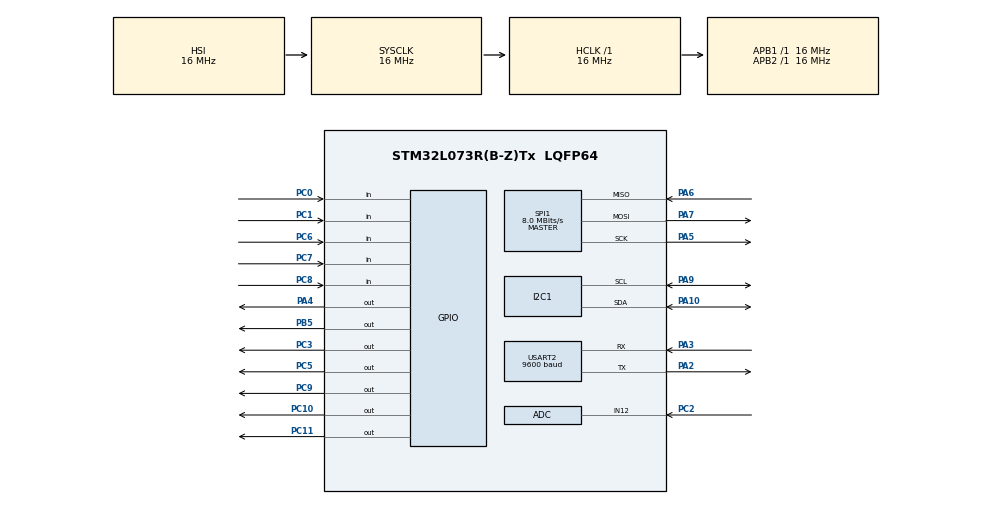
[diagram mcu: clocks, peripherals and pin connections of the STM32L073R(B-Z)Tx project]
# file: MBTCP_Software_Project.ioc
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ADC.ClockPrescaler=ADC_CLOCK_ASYNC_DIV1
I2C1.Timing=0x00303D5B
Mcu.Family=STM32L0
Mcu.Name=STM32L073R(B-Z)Tx
Mcu.Package=LQFP64
PA10.Mode=I2C
PA10.Signal=I2C1_SDA
PA13.Mode=Serial_Wire
PA13.Signal=SYS_SWDIO
PA14.Mode=Serial_Wire
PA14.Signal=SYS_SWCLK
PA2.Mode=Asynchronous
PA2.Signal=USART2_TX
PA3.Mode=Asynchronous
PA3.Signal=USART2_RX
PA4.GPIO_PuPd=GPIO_PULLUP
PA4.PinState=GPIO_PIN_SET
PA4.Signal=GPIO_Output
PA5.Mode=Full_Duplex_Master
PA5.Signal=SPI1_SCK
PA6.Mode=Full_Duplex_Master
PA6.Signal=SPI1_MISO
PA7.Mode=Full_Duplex_Master
PA7.Signal=SPI1_MOSI
PA9.Mode=I2C
PA9.Signal=I2C1_SCL
PB5.Signal=GPIO_Output
PC0.Signal=GPIO_Input
PC1.Signal=GPIO_Input
PC10.GPIO_PuPd=GPIO_PULLUP
PC10.PinState=GPIO_PIN_SET
PC10.Signal=GPIO_Output
PC11.GPIO_PuPd=GPIO_PULLUP
PC11.PinState=GPIO_PIN_SET
PC11.Signal=GPIO_Output
PC2.Mode=IN12
PC2.Signal=ADC_IN12
PC3.Signal=GPIO_Output
PC5.Signal=GPIO_Output
PC6.Signal=GPIO_Input
PC7.Signal=GPIO_Input
PC8.Signal=GPIO_Input
PC9.GPIO_ModeDefaultOutputPP=GPIO_MODE_OUTPUT_PP
PC9.GPIO_PuPd=GPIO_PULLUP
PC9.PinState=GPIO_PIN_SET
PC9.Signal=GPIO_Output
ProjectManager.HeapSize=0x200
ProjectManager.StackSize=0x400
ProjectManager.TargetToolchain=STM32CubeIDE
RCC.AHBFreq_Value=16000000
RCC.APB1Freq_Value=16000000
RCC.APB1TimFreq_Value=16000000
RCC.APB2Freq_Value=16000000
RCC.APB2TimFreq_Value=16000000
RCC.HCLKFreq_Value=16000000
RCC.HSE_VALUE=8000000
RCC.HSI16_VALUE=16000000
RCC.HSI48_VALUE=48000000
RCC.HSI_VALUE=16000000
RCC.LSE_VALUE=32768
RCC.MSI_VALUE=2097000
RCC.SYSCLKFreq_VALUE=16000000
RCC.SYSCLKSource=RCC_SYSCLKSOURCE_HSI
RCC.VCOOutputFreq_Value=48000000
SPI1.CLKPhase=SPI_PHASE_1EDGE
SPI1.CalculateBaudRate=8.0 MBits/s
SPI1.Direction=SPI_DIRECTION_2LINES
SPI1.Mode=SPI_MODE_MASTER
SPI1.VirtualType=VM_MASTER
USART2.BaudRate=9600
USART2.VirtualMode-Asynchronous=VM_ASYNC
board=custom

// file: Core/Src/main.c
/* USER CODE BEGIN Header */
/**
  ******************************************************************************
  * @file           : main.c
  * @brief          : Main program body
  ******************************************************************************
  * @attention
  *
  * <h2><center>&copy; Copyright (c) 2019 STMicroelectronics.
  * All rights reserved.</center></h2>
  *
  * This software component is licensed by ST under BSD 3-Clause license,
  * the "License"; You may not use this file except in compliance with the
  * License. You may obtain a copy of the License at:
  *                        opensource.org/licenses/BSD-3-Clause
  *
  ******************************************************************************
  */
/* USER CODE END Header */

#include "main.h"

/* USER CODE BEGIN Includes */
#include <string.h>
#include <stdio.h>
#include "fram.h"

/* USER CODE END Includes */

ADC_HandleTypeDef hadc;

I2C_HandleTypeDef hi2c1;

SPI_HandleTypeDef hspi1;

UART_HandleTypeDef huart2;

void SystemClock_Config(void);
static void MX_GPIO_Init(void);
static void MX_ADC_Init(void);
static void MX_I2C1_Init(void);
static void MX_SPI1_Init(void);
static void MX_USART2_UART_Init(void);

int main(void)
{

  /* MCU Configuration--------------------------------------------------------*/

  /* Reset of all peripherals, Initializes the Flash interface and the Systick. */
  HAL_Init();

  /* Configure the system clock */
  SystemClock_Config();

  /* Initialize all configured peripherals */
  MX_GPIO_Init();
  MX_ADC_Init();
  MX_I2C1_Init();
  MX_SPI1_Init();
  MX_USART2_UART_Init();
  /* USER CODE BEGIN 2 */

  //**************************************************************************************************************
  // HAL Items
  uint8_t HAL_OK_Buffer[6] = {72, 65, 76, 32, 79, 75};								// Buffer for HAL_OK message
  uint8_t HAL_ERROR_Buffer[9] = {72, 65, 76, 32, 69, 82, 82, 79, 82};				// Buffer for HAL_ERROR message
  uint8_t HAL_BUSY_Buffer[8] = {72, 65, 76, 32, 66, 85, 83, 89};					// Buffer for HAL_BUSY message
  uint8_t HAL_TIMEOUT_Buffer[11] = {72, 65, 76, 32, 84, 73, 77, 69, 79, 85, 84};	// Buffer for HAL_TIMEOUT message
  uint8_t crlfBuffer[2] = {13, 10};													// Buffer for carriage return and line feed characters
  HAL_StatusTypeDef UART2_STATUS;													// UART2 status object
  HAL_StatusTypeDef SPI1_STATUS;													// SPI1 status object
  uint32_t timeout = 10000;															// HAL timeout value
  // End HAL Items
  //*************************************************************************************************************

  //***************************************************************************************************************
  // Begin board bring-up specific items

  uint8_t writeData = 0x47;
  uint8_t readData = 0x42;
  uint16_t address = 0x0000;

  uint8_t writeGoodBuffer[12] = {87, 114, 105, 116, 101, 32, 71, 111, 111, 100, 58, 32};
  uint8_t writeBadBuffer[9] = {87, 114, 105, 116, 101, 32, 66, 97, 100};
  uint8_t readGoodData[11] = {82, 101, 97, 100, 32, 68, 97, 116, 97, 58, 32};
  uint8_t readBadBuffer[9] = {82, 101, 97, 100, 32, 66, 97, 100};

  // End board bring-up specific items
  //***************************************************************************************************************

  /* USER CODE END 2 */

  /* Infinite loop */
  /* USER CODE BEGIN WHILE */
  while (1)
  {
	  // Reset the address and data
	  writeData = 0x47;
	  readData = 0x42;

	  if(address >= 0x1FFF)
	  {
		  address = 0x0001;
	  }
	  else	// increment the address
	  {
		  address = address + 1;
	  }

	  // Write data to address
	  SPI1_STATUS = framWrite(&hspi1, address, writeData);
	  if(SPI1_STATUS == HAL_OK)
	  {
		  // Print write was ok
		  UART2_STATUS = HAL_UART_Transmit(&huart2, writeGoodBuffer, sizeof(writeGoodBuffer), timeout);
		  UART2_STATUS = HAL_UART_Transmit(&huart2, &address, 2, timeout);
		  UART2_STATUS = HAL_UART_Transmit(&huart2, crlfBuffer, sizeof(crlfBuffer), timeout);
	  }
	  else
	  {
		  // Print write failed
		  UART2_STATUS = HAL_UART_Transmit(&huart2, writeBadBuffer, sizeof(writeBadBuffer), timeout);
		  UART2_STATUS = HAL_UART_Transmit(&huart2, crlfBuffer, sizeof(crlfBuffer), timeout);
	  }

	  // Read the data back and print to serial port
	  SPI1_STATUS = framRead(&hspi1, address, &readData);
	  if(SPI1_STATUS == HAL_OK)
	  {
		  // Print read data
		  UART2_STATUS = HAL_UART_Transmit(&huart2, readGoodData, sizeof(readGoodData), timeout);
		  UART2_STATUS = HAL_UART_Transmit(&huart2, &readData, 1, timeout);
		  UART2_STATUS = HAL_UART_Transmit(&huart2, crlfBuffer, sizeof(crlfBuffer), timeout);
	  }
	  else
	  {
		  // Print read failed
		  UART2_STATUS = HAL_UART_Transmit(&huart2, readBadBuffer, sizeof(readBadBuffer), timeout);
		  UART2_STATUS = HAL_UART_Transmit(&huart2, crlfBuffer, sizeof(crlfBuffer), timeout);
	  }

	  if(UART2_STATUS == HAL_OK)
	  {
		  // do nothing, just to avoid a build warning
	  }

	  // Delay a bit before looping
	  HAL_Delay(250);

	  // Toggle the LED
	  HAL_GPIO_TogglePin(GPIOB, GPIO_PIN_5);

    /* USER CODE END WHILE */

  }
}

void SystemClock_Config(void)
{
  RCC_OscInitTypeDef RCC_OscInitStruct = {0};
  RCC_ClkInitTypeDef RCC_ClkInitStruct = {0};
  RCC_PeriphCLKInitTypeDef PeriphClkInit = {0};

  /** Configure the main internal regulator output voltage
  */
  __HAL_PWR_VOLTAGESCALING_CONFIG(PWR_REGULATOR_VOLTAGE_SCALE1);
  /** Initializes the CPU, AHB and APB busses clocks
  */
  RCC_OscInitStruct.OscillatorType = RCC_OSCILLATORTYPE_HSI;
  RCC_OscInitStruct.HSIState = RCC_HSI_ON;
  RCC_OscInitStruct.HSICalibrationValue = RCC_HSICALIBRATION_DEFAULT;
  RCC_OscInitStruct.PLL.PLLState = RCC_PLL_NONE;
  if (HAL_RCC_OscConfig(&RCC_OscInitStruct) != HAL_OK)
  {
    Error_Handler();
  }
  /** Initializes the CPU, AHB and APB busses clocks
  */
  RCC_ClkInitStruct.ClockType = RCC_CLOCKTYPE_HCLK|RCC_CLOCKTYPE_SYSCLK
                              |RCC_CLOCKTYPE_PCLK1|RCC_CLOCKTYPE_PCLK2;
  RCC_ClkInitStruct.SYSCLKSource = RCC_SYSCLKSOURCE_HSI;
  RCC_ClkInitStruct.AHBCLKDivider = RCC_SYSCLK_DIV1;
  RCC_ClkInitStruct.APB1CLKDivider = RCC_HCLK_DIV1;
  RCC_ClkInitStruct.APB2CLKDivider = RCC_HCLK_DIV1;

  if (HAL_RCC_ClockConfig(&RCC_ClkInitStruct, FLASH_LATENCY_0) != HAL_OK)
  {
    Error_Handler();
  }
  PeriphClkInit.PeriphClockSelection = RCC_PERIPHCLK_USART2|RCC_PERIPHCLK_I2C1;
  PeriphClkInit.Usart2ClockSelection = RCC_USART2CLKSOURCE_PCLK1;
  PeriphClkInit.I2c1ClockSelection = RCC_I2C1CLKSOURCE_PCLK1;
  if (HAL_RCCEx_PeriphCLKConfig(&PeriphClkInit) != HAL_OK)
  {
    Error_Handler();
  }
}

static void MX_ADC_Init(void)
{

  ADC_ChannelConfTypeDef sConfig = {0};

  /** Configure the global features of the ADC (Clock, Resolution, Data Alignment and number of conversion)
  */
  hadc.Instance = ADC1;
  hadc.Init.OversamplingMode = DISABLE;
  hadc.Init.ClockPrescaler = ADC_CLOCK_ASYNC_DIV1;
  hadc.Init.Resolution = ADC_RESOLUTION_12B;
  hadc.Init.SamplingTime = ADC_SAMPLETIME_1CYCLE_5;
  hadc.Init.ScanConvMode = ADC_SCAN_DIRECTION_FORWARD;
  hadc.Init.DataAlign = ADC_DATAALIGN_RIGHT;
  hadc.Init.ContinuousConvMode = DISABLE;
  hadc.Init.DiscontinuousConvMode = DISABLE;
  hadc.Init.ExternalTrigConvEdge = ADC_EXTERNALTRIGCONVEDGE_NONE;
  hadc.Init.ExternalTrigConv = ADC_SOFTWARE_START;
  hadc.Init.DMAContinuousRequests = DISABLE;
  hadc.Init.EOCSelection = ADC_EOC_SINGLE_CONV;
  hadc.Init.Overrun = ADC_OVR_DATA_PRESERVED;
  hadc.Init.LowPowerAutoWait = DISABLE;
  hadc.Init.LowPowerFrequencyMode = DISABLE;
  hadc.Init.LowPowerAutoPowerOff = DISABLE;
  if (HAL_ADC_Init(&hadc) != HAL_OK)
  {
    Error_Handler();
  }
  /** Configure for the selected ADC regular channel to be converted.
  */
  sConfig.Channel = ADC_CHANNEL_12;
  sConfig.Rank = ADC_RANK_CHANNEL_NUMBER;
  if (HAL_ADC_ConfigChannel(&hadc, &sConfig) != HAL_OK)
  {
    Error_Handler();
  }

}

static void MX_I2C1_Init(void)
{

  hi2c1.Instance = I2C1;
  hi2c1.Init.Timing = 0x00303D5B;
  hi2c1.Init.OwnAddress1 = 0;
  hi2c1.Init.AddressingMode = I2C_ADDRESSINGMODE_7BIT;
  hi2c1.Init.DualAddressMode = I2C_DUALADDRESS_DISABLE;
  hi2c1.Init.OwnAddress2 = 0;
  hi2c1.Init.OwnAddress2Masks = I2C_OA2_NOMASK;
  hi2c1.Init.GeneralCallMode = I2C_GENERALCALL_DISABLE;
  hi2c1.Init.NoStretchMode = I2C_NOSTRETCH_DISABLE;
  if (HAL_I2C_Init(&hi2c1) != HAL_OK)
  {
    Error_Handler();
  }
  /** Configure Analogue filter
  */
  if (HAL_I2CEx_ConfigAnalogFilter(&hi2c1, I2C_ANALOGFILTER_ENABLE) != HAL_OK)
  {
    Error_Handler();
  }
  /** Configure Digital filter
  */
  if (HAL_I2CEx_ConfigDigitalFilter(&hi2c1, 0) != HAL_OK)
  {
    Error_Handler();
  }

}

static void MX_SPI1_Init(void)
{

  /* SPI1 parameter configuration*/
  hspi1.Instance = SPI1;
  hspi1.Init.Mode = SPI_MODE_MASTER;
  hspi1.Init.Direction = SPI_DIRECTION_2LINES;
  hspi1.Init.DataSize = SPI_DATASIZE_8BIT;
  hspi1.Init.CLKPolarity = SPI_POLARITY_LOW;
  hspi1.Init.CLKPhase = SPI_PHASE_1EDGE;
  hspi1.Init.NSS = SPI_NSS_SOFT;
  hspi1.Init.BaudRatePrescaler = SPI_BAUDRATEPRESCALER_2;
  hspi1.Init.FirstBit = SPI_FIRSTBIT_MSB;
  hspi1.Init.TIMode = SPI_TIMODE_DISABLE;
  hspi1.Init.CRCCalculation = SPI_CRCCALCULATION_DISABLE;
  hspi1.Init.CRCPolynomial = 7;
  if (HAL_SPI_Init(&hspi1) != HAL_OK)
  {
    Error_Handler();
  }

}

static void MX_USART2_UART_Init(void)
{

  huart2.Instance = USART2;
  huart2.Init.BaudRate = 9600;
  huart2.Init.WordLength = UART_WORDLENGTH_8B;
  huart2.Init.StopBits = UART_STOPBITS_1;
  huart2.Init.Parity = UART_PARITY_NONE;
  huart2.Init.Mode = UART_MODE_TX_RX;
  huart2.Init.HwFlowCtl = UART_HWCONTROL_NONE;
  huart2.Init.OverSampling = UART_OVERSAMPLING_16;
  huart2.Init.OneBitSampling = UART_ONE_BIT_SAMPLE_DISABLE;
  huart2.AdvancedInit.AdvFeatureInit = UART_ADVFEATURE_NO_INIT;
  if (HAL_UART_Init(&huart2) != HAL_OK)
  {
    Error_Handler();
  }

}

static void MX_GPIO_Init(void)
{
  GPIO_InitTypeDef GPIO_InitStruct = {0};

  /* GPIO Ports Clock Enable */
  __HAL_RCC_GPIOC_CLK_ENABLE();
  __HAL_RCC_GPIOA_CLK_ENABLE();
  __HAL_RCC_GPIOB_CLK_ENABLE();

  /*Configure GPIO pin Output Level */
  HAL_GPIO_WritePin(GPIOC, GPIO_PIN_3|GPIO_PIN_5, GPIO_PIN_RESET);

  /*Configure GPIO pin Output Level */
  HAL_GPIO_WritePin(GPIOA, GPIO_PIN_4, GPIO_PIN_SET);

  /*Configure GPIO pin Output Level */
  HAL_GPIO_WritePin(GPIOC, GPIO_PIN_9|GPIO_PIN_10|GPIO_PIN_11, GPIO_PIN_SET);

  /*Configure GPIO pin Output Level */
  HAL_GPIO_WritePin(GPIOB, GPIO_PIN_5, GPIO_PIN_RESET);

  /*Configure GPIO pins : PC0 PC1 PC6 PC7
                           PC8 */
  GPIO_InitStruct.Pin = GPIO_PIN_0|GPIO_PIN_1|GPIO_PIN_6|GPIO_PIN_7
                          |GPIO_PIN_8;
  GPIO_InitStruct.Mode = GPIO_MODE_INPUT;
  GPIO_InitStruct.Pull = GPIO_NOPULL;
  HAL_GPIO_Init(GPIOC, &GPIO_InitStruct);

  /*Configure GPIO pins : PC3 PC5 */
  GPIO_InitStruct.Pin = GPIO_PIN_3|GPIO_PIN_5;
  GPIO_InitStruct.Mode = GPIO_MODE_OUTPUT_PP;
  GPIO_InitStruct.Pull = GPIO_NOPULL;
  GPIO_InitStruct.Speed = GPIO_SPEED_FREQ_LOW;
  HAL_GPIO_Init(GPIOC, &GPIO_InitStruct);

  /*Configure GPIO pin : PA4 */
  GPIO_InitStruct.Pin = GPIO_PIN_4;
  GPIO_InitStruct.Mode = GPIO_MODE_OUTPUT_PP;
  GPIO_InitStruct.Pull = GPIO_PULLUP;
  GPIO_InitStruct.Speed = GPIO_SPEED_FREQ_LOW;
  HAL_GPIO_Init(GPIOA, &GPIO_InitStruct);

  /*Configure GPIO pins : PC9 PC10 PC11 */
  GPIO_InitStruct.Pin = GPIO_PIN_9|GPIO_PIN_10|GPIO_PIN_11;
  GPIO_InitStruct.Mode = GPIO_MODE_OUTPUT_PP;
  GPIO_InitStruct.Pull = GPIO_PULLUP;
  GPIO_InitStruct.Speed = GPIO_SPEED_FREQ_LOW;
  HAL_GPIO_Init(GPIOC, &GPIO_InitStruct);

  /*Configure GPIO pin : PB5 */
  GPIO_InitStruct.Pin = GPIO_PIN_5;
  GPIO_InitStruct.Mode = GPIO_MODE_OUTPUT_PP;
  GPIO_InitStruct.Pull = GPIO_NOPULL;
  GPIO_InitStruct.Speed = GPIO_SPEED_FREQ_LOW;
  HAL_GPIO_Init(GPIOB, &GPIO_InitStruct);

}

void Error_Handler(void)
{
}

/************************ (C) COPYRIGHT STMicroelectronics *****END OF FILE****/
